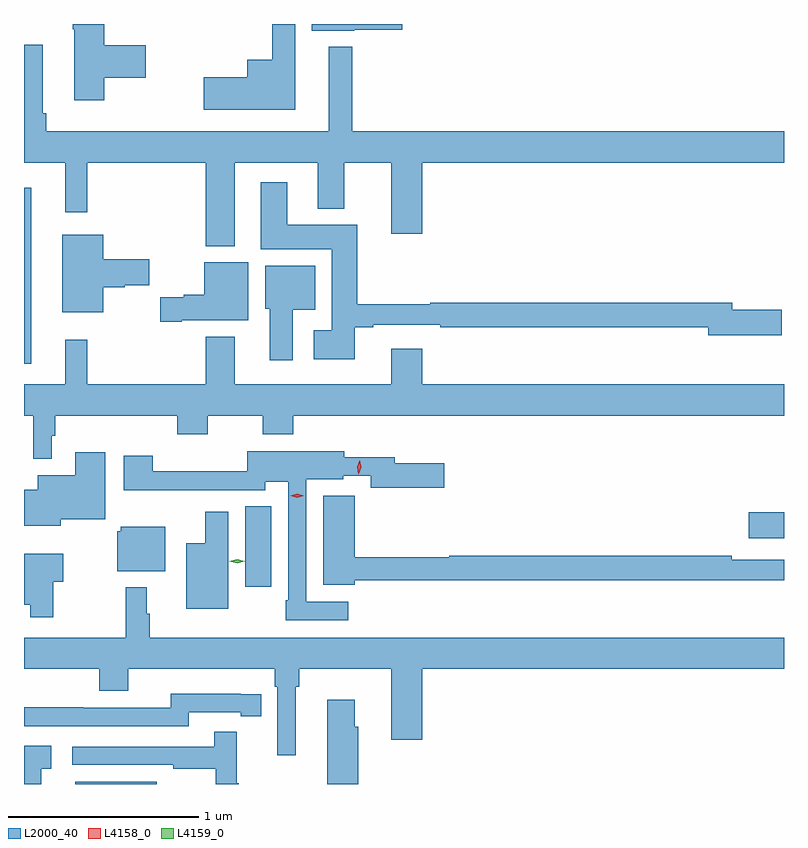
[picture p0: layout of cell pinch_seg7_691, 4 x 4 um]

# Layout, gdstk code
import gdstk
lib = gdstk.Library(unit=1e-6, precision=1e-09)
def R(c, l, rs):  # rectangles x0, y0, x1, y1
    for r in rs: c.add(gdstk.rectangle(r[:2], r[2:], *l))
def P(c, l, *ps):  # polygons
    for p in ps: c.add(gdstk.Polygon(p, *l))
L2000_40 = (2000, 40)
L4158_0 = (4158, 0)
L4159_0 = (4159, 0)

pinch_seg7_691 = lib.new_cell('pinch_seg7_691')
R(pinch_seg7_691, L2000_40, [(295.214,998.677,295.642,998.689), (296.108,999.714,296.245,1000.139), (298.758,999.971,298.944,1000.106), (294.944,1000.89,294.982,1001.815)])
P(pinch_seg7_691, L2000_40, [(296.682,1002.647),(296.935,1002.647),(296.935,1002.677),(296.459,1002.677),(296.459,1002.641),(296.682,1002.641)],
  [(296.371,1002.677),(296.25,1002.677),(296.25,1002.49),(296.12,1002.49),(296.12,1002.398),(295.89,1002.398),(295.89,1002.227),(296.371,1002.227)],
  [(295.367,1002.395),(295.585,1002.395),(295.585,1002.566),(295.367,1002.566),(295.367,1002.677),(295.201,1002.677),(295.201,1002.649),(295.208,1002.649),(295.208,1002.276),(295.367,1002.276)],
  [(296.053,1001.948),(296.489,1001.948),(296.489,1001.705),(296.629,1001.705),(296.629,1001.948),(296.876,1001.948),(296.876,1001.574),(297.04,1001.574),(297.04,1001.948),(298.944,1001.948),(298.944,1002.112),(296.671,1002.112),(296.671,1002.556),(296.549,1002.556),(296.549,1002.112),(295.061,1002.112),(295.061,1002.208),(295.042,1002.208),(295.042,1002.568),(294.945,1002.568),(294.945,1002.208),(294.944,1002.208),(294.944,1001.948),(295.16,1001.948),(295.16,1001.685),(295.277,1001.685),(295.277,1001.948),(295.901,1001.948),(295.901,1001.507),(296.053,1001.507)],
  [(296.686,1001.082),(296.782,1001.082),(296.782,1001.094),(297.136,1001.094),(297.136,1001.082),(298.544,1001.082),(298.544,1001.039),(298.933,1001.039),(298.933,1001.174),(298.672,1001.174),(298.672,1001.21),(297.082,1001.21),(297.082,1001.203),(296.699,1001.203),(296.699,1001.62),(296.329,1001.62),(296.329,1001.845),(296.189,1001.845),(296.189,1001.492),(296.564,1001.492),(296.564,1001.065),(296.469,1001.065),(296.469,1000.913),(296.686,1000.913)],
  [(295.36,1001.291),(295.473,1001.291),(295.473,1001.302),(295.603,1001.302),(295.603,1001.438),(295.36,1001.438),(295.36,1001.569),(295.145,1001.569),(295.145,1001.159),(295.36,1001.159)],
  [(295.774,1001.117),(296.125,1001.117),(296.125,1001.422),(295.892,1001.422),(295.892,1001.252),(295.785,1001.252),(295.785,1001.24),(295.662,1001.24),(295.662,1001.11),(295.774,1001.11)],
  [(296.359,1001.174),(296.476,1001.174),(296.476,1001.404),(296.213,1001.404),(296.213,1001.178),(296.237,1001.178),(296.237,1000.908),(296.359,1000.908)],
  [(295.089,1000.51),(295.109,1000.51),(295.109,1000.616),(295.751,1000.616),(295.751,1000.517),(295.911,1000.517),(295.911,1000.616),(296.2,1000.616),(296.2,1000.517),(296.36,1000.517),(296.36,1000.616),(298.944,1000.616),(298.944,1000.78),(297.04,1000.78),(297.04,1000.969),(296.876,1000.969),(296.876,1000.78),(296.053,1000.78),(296.053,1001.032),(295.901,1001.032),(295.901,1000.78),(295.277,1000.78),(295.277,1001.014),(295.16,1001.014),(295.16,1000.78),(294.944,1000.78),(294.944,1000.616),(294.992,1000.616),(294.992,1000.388),(295.089,1000.388)],
  [(296.65,999.636),(296.43,999.636),(296.43,1000.28),(296.625,1000.28),(296.625,1000.299),(296.768,1000.299),(296.768,1000.237),(297.157,1000.237),(297.157,1000.366),(296.896,1000.366),(296.896,1000.398),(296.629,1000.398),(296.629,1000.429),(296.118,1000.429),(296.118,1000.322),(295.622,1000.322),(295.622,1000.405),(295.469,1000.405),(295.469,1000.223),(295.705,1000.223),(295.705,1000.224),(296.214,1000.224),(296.214,1000.268),(296.334,1000.268),(296.334,999.643),(296.322,999.643),(296.322,999.54),(296.65,999.54)],
  [(295.138,1000.07),(295.372,1000.07),(295.372,1000.423),(295.214,1000.423),(295.214,1000.303),(295.016,1000.303),(295.016,1000.225),(294.944,1000.225),(294.944,1000.037),(295.138,1000.037)],
  [(296.686,999.75),(298.944,999.75),(298.944,999.858),(298.67,999.858),(298.67,999.878),(297.182,999.878),(297.182,999.871),(296.686,999.871),(296.686,1000.195),(296.519,1000.195),(296.519,999.725),(296.686,999.725)],
  [(296.02,1000.111),(295.898,1000.111),(295.898,999.943),(295.799,999.943),(295.799,999.599),(296.02,999.599)],
  [(295.687,1000.03),(295.452,1000.03),(295.452,1000.008),(295.436,1000.008),(295.436,999.797),(295.687,999.797)],
  [(295.099,999.742),(295.15,999.742),(295.15,999.889),(294.944,999.889),(294.944,999.62),(294.978,999.62),(294.978,999.555),(295.099,999.555)],
  [(295.589,999.572),(295.589,999.712),(295.479,999.712),(295.479,999.448),(294.944,999.448),(294.944,999.284),(295.34,999.284),(295.34,999.167),(295.492,999.167),(295.492,999.284),(296.264,999.284),(296.264,999.188),(296.277,999.188),(296.277,998.829),(296.374,998.829),(296.374,999.188),(296.393,999.188),(296.393,999.284),(296.876,999.284),(296.876,998.91),(297.04,998.91),(297.04,999.284),(298.944,999.284),(298.944,999.448),(295.607,999.448),(295.607,999.572)],
  [(295.812,999.054),(296.084,999.054),(296.084,999.034),(296.192,999.034),(296.192,999.15),(296.084,999.15),(296.084,999.151),(295.716,999.151),(295.716,999.078),(295.256,999.078),(295.256,999.08),(294.944,999.08),(294.944,998.982),(295.812,998.982)],
  [(296.704,998.979),(296.686,998.979),(296.686,999.121),(296.54,999.121),(296.54,998.677),(296.704,998.677)],
  [(296.074,998.681),(296.063,998.681),(296.063,998.953),(295.945,998.953),(295.945,998.874),(295.197,998.874),(295.197,998.778),(295.729,998.778),(295.729,998.758),(295.953,998.758),(295.953,998.677),(296.074,998.677)],
  [(295.034,998.757),(295.087,998.757),(295.087,998.878),(294.944,998.878),(294.944,998.677),(295.034,998.677)])
P(pinch_seg7_691, L4158_0, [(296.704,1000.31),(296.704,1000.31),(296.698,1000.347),(296.711,1000.382),(296.711,1000.382),(296.711,1000.382),(296.718,1000.345),(296.705,1000.31)],
  [(296.382,1000.184),(296.346,1000.193),(296.346,1000.193),(296.346,1000.194),(296.381,1000.204),(296.416,1000.195),(296.416,1000.195),(296.416,1000.194)])
P(pinch_seg7_691, L4159_0, [(296.066,999.84),(296.025,999.85),(296.025,999.85),(296.025,999.85),(296.066,999.86),(296.106,999.85),(296.107,999.85),(296.106,999.85)])

lib.write_gds('pinch_seg7_691.gds')
